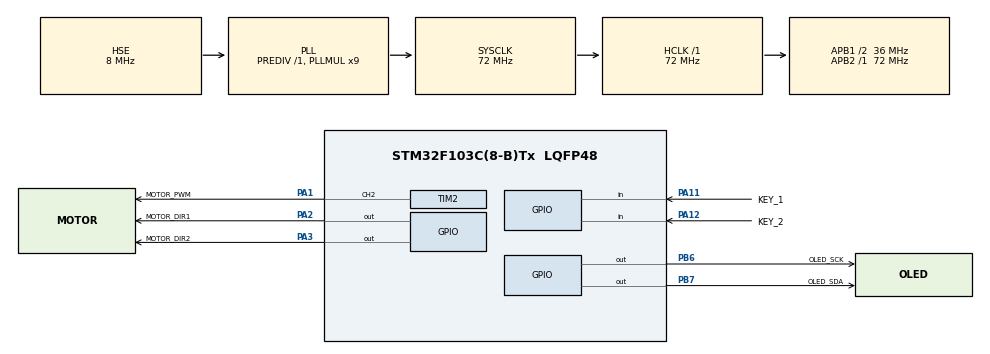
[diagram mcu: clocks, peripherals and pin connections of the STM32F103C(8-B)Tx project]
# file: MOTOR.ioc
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Mcu.Family=STM32F1
Mcu.Name=STM32F103C(8-B)Tx
Mcu.Package=LQFP48
NVIC.PriorityGroup=NVIC_PRIORITYGROUP_4
PA1.GPIO_Label=MOTOR_PWM
PA1.Signal=S_TIM2_CH2
PA11.GPIO_Label=KEY_1
PA11.GPIO_PuPd=GPIO_PULLUP
PA11.Signal=GPIO_Input
PA12.GPIO_Label=KEY_2
PA12.GPIO_PuPd=GPIO_PULLUP
PA12.Signal=GPIO_Input
PA13.Mode=Serial_Wire
PA13.Signal=SYS_JTMS-SWDIO
PA14.Mode=Serial_Wire
PA14.Signal=SYS_JTCK-SWCLK
PA2.GPIO_Label=MOTOR_DIR1
PA2.Signal=GPIO_Output
PA3.GPIO_Label=MOTOR_DIR2
PA3.Signal=GPIO_Output
PB6.GPIO_Label=OLED_SCK
PB6.GPIO_ModeDefaultOutputPP=GPIO_MODE_OUTPUT_OD
PB6.GPIO_PuPd=GPIO_NOPULL
PB6.Signal=GPIO_Output
PB7.GPIO_Label=OLED_SDA
PB7.GPIO_ModeDefaultOutputPP=GPIO_MODE_OUTPUT_OD
PB7.GPIO_PuPd=GPIO_NOPULL
PB7.Signal=GPIO_Output
PD0-OSC_IN.Mode=HSE-External-Oscillator
PD0-OSC_IN.Signal=RCC_OSC_IN
PD1-OSC_OUT.Mode=HSE-External-Oscillator
PD1-OSC_OUT.Signal=RCC_OSC_OUT
ProjectManager.HeapSize=0x200
ProjectManager.StackSize=0x400
ProjectManager.TargetToolchain=CMake
RCC.AHBFreq_Value=72000000
RCC.APB1CLKDivider=RCC_HCLK_DIV2
RCC.APB1Freq_Value=36000000
RCC.APB1TimFreq_Value=72000000
RCC.APB2Freq_Value=72000000
RCC.APB2TimFreq_Value=72000000
RCC.HCLKFreq_Value=72000000
RCC.PLLMUL=RCC_PLL_MUL9
RCC.PLLSourceVirtual=RCC_PLLSOURCE_HSE
RCC.SYSCLKFreq_VALUE=72000000
RCC.SYSCLKSource=RCC_SYSCLKSOURCE_PLLCLK
RCC.USBFreq_Value=72000000
SH.S_TIM2_CH2.0=TIM2_CH2,PWM Generation2 CH2
TIM2.AutoReloadPreload=TIM_AUTORELOAD_PRELOAD_ENABLE
TIM2.Channel-PWM\ Generation2\ CH2=TIM_CHANNEL_2
TIM2.Period=99
TIM2.Prescaler=71
board=custom

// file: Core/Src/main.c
/* USER CODE BEGIN Header */
/**
  ******************************************************************************
  * @file           : main.c
  * @brief          : Main program body
  ******************************************************************************
  * @attention
  *
  * Copyright (c) 2026 STMicroelectronics.
  * All rights reserved.
  *
  * This software is licensed under terms that can be found in the LICENSE file
  * in the root directory of this software component.
  * If no LICENSE file comes with this software, it is provided AS-IS.
  *
  ******************************************************************************
  */
/* USER CODE END Header */
#include "main.h"
#include "tim.h"
#include "gpio.h"

/* USER CODE BEGIN Includes */
#include "KEY.h"
#include "motor.h"
#include "oled.h"
/* USER CODE END Includes */

/* USER CODE BEGIN PV */
// 速度档位表：20%, 40%, 60%, 80%, 100%, 停止(0%)
static const uint8_t speed_table[] = {20, 40, 60, 80, 100, 0};
static uint8_t forward_index = 0;   // 正转当前档位索引
static uint8_t backward_index = 0;  // 反转当前档位索引
/* USER CODE END PV */

void SystemClock_Config(void);

int main(void)
{

  /* MCU Configuration--------------------------------------------------------*/
  HAL_Init();

  /* Configure the system clock */
  SystemClock_Config();

  /* Initialize all configured peripherals */
  MX_GPIO_Init();
  MX_TIM2_Init();
  /* USER CODE BEGIN 2 */
  KEY_Init();
  Motor_Init();
  OLED_Init();

  // 初始显示
  OLED_ShowString(1, 1, "Direction: STOP");
  OLED_ShowString(2, 1, "Speed:   0%");
  /* USER CODE END 2 */

  /* Infinite loop */
  /* USER CODE BEGIN WHILE */
  while (1)
  {
    Key_ID key = KEY_Scan();

    if (key == KEY_1) {
        // 正转：取当前速度档位，然后索引递增（循环）
        uint8_t spd = speed_table[forward_index];
        forward_index++;
        if (forward_index >= sizeof(speed_table)) forward_index = 0;

        if (spd == 0) {
            Motor_Control(MOTOR_STOP, 0);
            OLED_ShowString(1, 1, "Direction: STOP ");
            OLED_ShowNum(2, 8, 0, 3);
        } else {
            Motor_Control(MOTOR_FORWARD, spd);
            OLED_ShowString(1, 1, "Direction: FORW");
            OLED_ShowNum(2, 8, spd, 3);
        }
    }
    else if (key == KEY_2) {
        // 反转：取当前速度档位，然后索引递增（循环）
        uint8_t spd = speed_table[backward_index];
        backward_index++;
        if (backward_index >= sizeof(speed_table)) backward_index = 0;

        if (spd == 0) {
            Motor_Control(MOTOR_STOP, 0);
            OLED_ShowString(1, 1, "Direction: STOP ");
            OLED_ShowNum(2, 8, 0, 3);
        } else {
            Motor_Control(MOTOR_BACKWARD, spd);
            OLED_ShowString(1, 1, "Direction: BACK");
            OLED_ShowNum(2, 8, spd, 3);
        }
    }

    /* USER CODE END WHILE */

  }
}

void SystemClock_Config(void)
{
  RCC_OscInitTypeDef RCC_OscInitStruct = {0};
  RCC_ClkInitTypeDef RCC_ClkInitStruct = {0};

  /** Initializes the RCC Oscillators according to the specified parameters
  * in the RCC_OscInitTypeDef structure.
  */
  RCC_OscInitStruct.OscillatorType = RCC_OSCILLATORTYPE_HSE;
  RCC_OscInitStruct.HSEState = RCC_HSE_ON;
  RCC_OscInitStruct.HSEPredivValue = RCC_HSE_PREDIV_DIV1;
  RCC_OscInitStruct.HSIState = RCC_HSI_ON;
  RCC_OscInitStruct.PLL.PLLState = RCC_PLL_ON;
  RCC_OscInitStruct.PLL.PLLSource = RCC_PLLSOURCE_HSE;
  RCC_OscInitStruct.PLL.PLLMUL = RCC_PLL_MUL9;
  if (HAL_RCC_OscConfig(&RCC_OscInitStruct) != HAL_OK)
  {
    Error_Handler();
  }

  /** Initializes the CPU, AHB and APB buses clocks
  */
  RCC_ClkInitStruct.ClockType = RCC_CLOCKTYPE_HCLK|RCC_CLOCKTYPE_SYSCLK
                              |RCC_CLOCKTYPE_PCLK1|RCC_CLOCKTYPE_PCLK2;
  RCC_ClkInitStruct.SYSCLKSource = RCC_SYSCLKSOURCE_PLLCLK;
  RCC_ClkInitStruct.AHBCLKDivider = RCC_SYSCLK_DIV1;
  RCC_ClkInitStruct.APB1CLKDivider = RCC_HCLK_DIV2;
  RCC_ClkInitStruct.APB2CLKDivider = RCC_HCLK_DIV1;

  if (HAL_RCC_ClockConfig(&RCC_ClkInitStruct, FLASH_LATENCY_2) != HAL_OK)
  {
    Error_Handler();
  }
}

void Error_Handler(void)
{
  __disable_irq();
  while (1)
  {
  }
}
